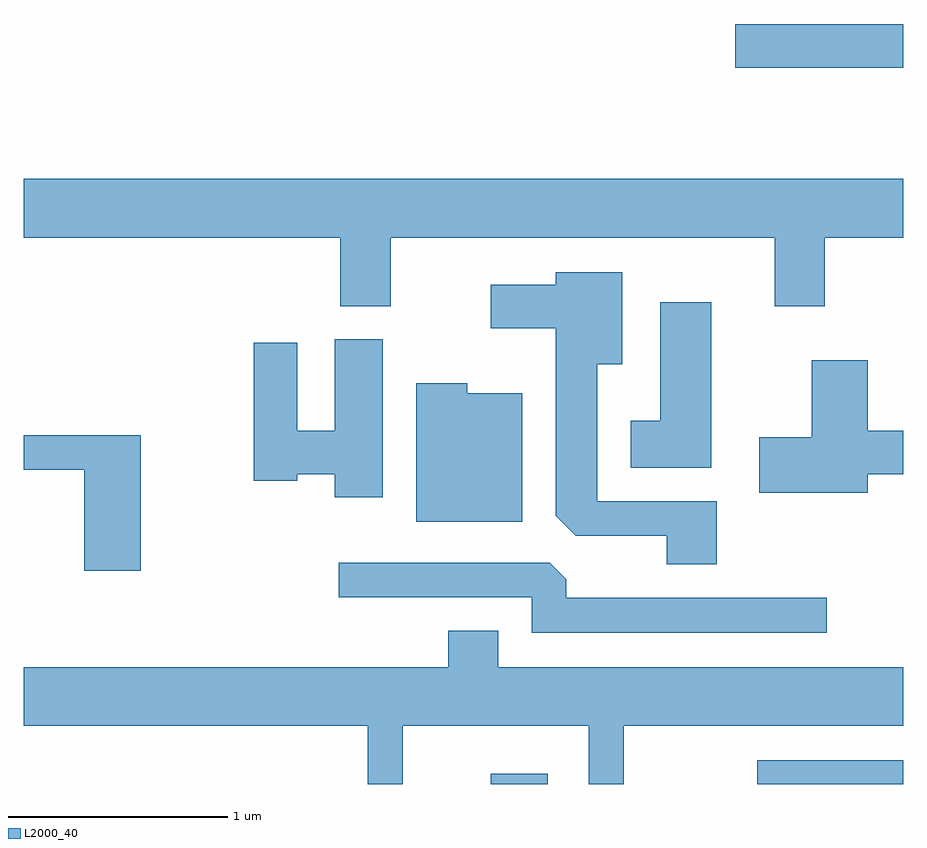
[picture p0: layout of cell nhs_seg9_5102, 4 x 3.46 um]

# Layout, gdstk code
import gdstk
lib = gdstk.Library(unit=1e-6, precision=1e-09)
def R(c, l, rs):  # rectangles x0, y0, x1, y1
    for r in rs: c.add(gdstk.rectangle(r[:2], r[2:], *l))
def P(c, l, *ps):  # polygons
    for p in ps: c.add(gdstk.Polygon(p, *l))
L2000_40 = (2000, 40)

nhs_seg9_5102 = lib.new_cell('nhs_seg9_5102')
R(nhs_seg9_5102, L2000_40, [(337.736,2000.432,337.994,2000.479), (338.948,2000.432,339.611,2000.539), (338.846,2003.691,339.611,2003.889)])
P(nhs_seg9_5102, L2000_40, [(337.279,2002.916),(339.026,2002.916),(339.026,2002.606),(339.254,2002.606),(339.254,2002.916),(339.611,2002.916),(339.611,2003.184),(335.611,2003.184),(335.611,2002.916),(337.051,2002.916),(337.051,2002.606),(337.279,2002.606)],
  [(338.764,2001.719),(338.219,2001.719),(338.219,2002.341),(338.334,2002.341),(338.334,2002.759),(338.031,2002.759),(338.031,2002.704),(337.736,2002.704),(337.736,2002.506),(338.031,2002.506),(338.031,2001.652),(338.122,2001.561),(338.536,2001.561),(338.536,2001.431),(338.764,2001.431)],
  [(338.739,2002.624),(338.506,2002.624),(338.506,2002.084),(338.371,2002.084),(338.371,2001.871),(338.739,2001.871)],
  [(337.244,2002.454),(337.026,2002.454),(337.026,2002.039),(336.854,2002.039),(336.854,2002.439),(336.656,2002.439),(336.656,2001.811),(336.854,2001.811),(336.854,2001.841),(337.026,2001.841),(337.026,2001.736),(337.244,2001.736)],
  [(339.449,2001.841),(339.611,2001.841),(339.611,2002.039),(339.449,2002.039),(339.449,2002.359),(339.196,2002.359),(339.196,2002.009),(338.956,2002.009),(338.956,2001.756),(339.449,2001.756)],
  [(337.879,2002.209),(337.629,2002.209),(337.629,2002.254),(337.396,2002.254),(337.396,2001.626),(337.879,2001.626)],
  [(336.144,2002.019),(335.611,2002.019),(335.611,2001.861),(335.886,2001.861),(335.886,2001.401),(336.144,2001.401)],
  [(339.263,2001.279),(338.079,2001.279),(338.079,2001.364),(338.004,2001.439),(337.043,2001.439),(337.043,2001.281),(337.921,2001.281),(337.921,2001.121),(339.263,2001.121)],
  [(337.334,2000.696),(338.181,2000.696),(338.181,2000.432),(338.339,2000.432),(338.339,2000.696),(339.611,2000.696),(339.611,2000.964),(337.769,2000.964),(337.769,2001.129),(337.541,2001.129),(337.541,2000.964),(335.611,2000.964),(335.611,2000.696),(337.176,2000.696),(337.176,2000.432),(337.334,2000.432)])

lib.write_gds('nhs_seg9_5102.gds')
